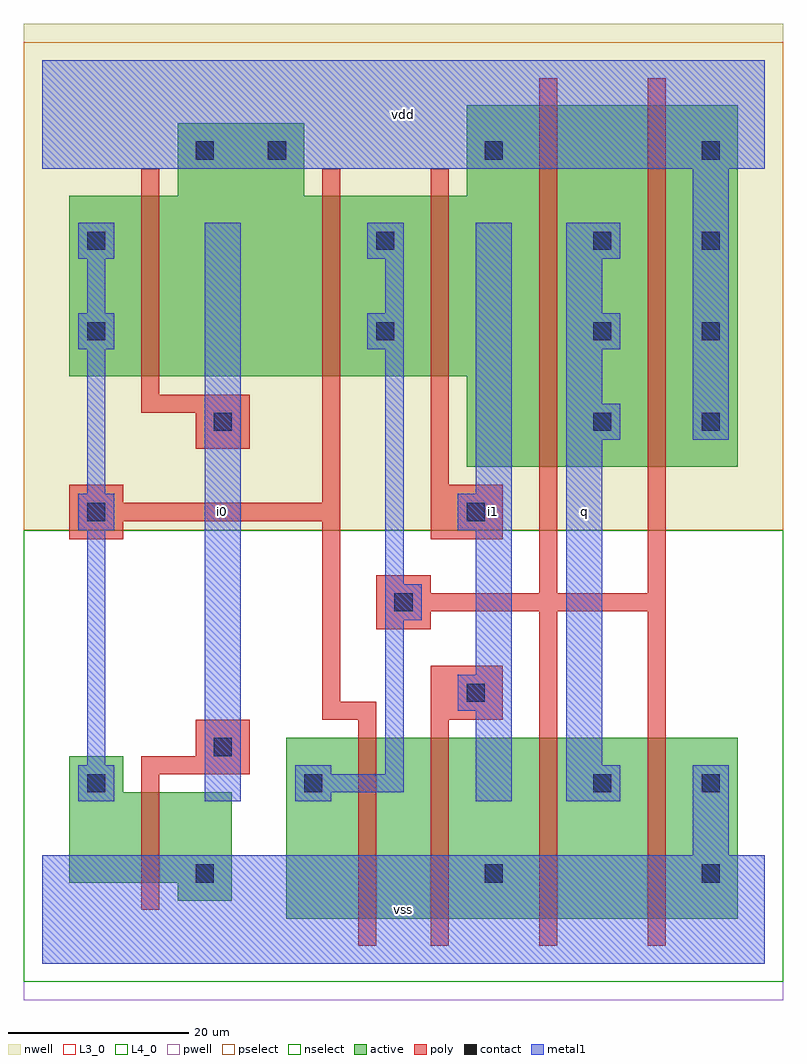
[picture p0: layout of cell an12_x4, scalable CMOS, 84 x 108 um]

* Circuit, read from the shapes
.subckt an12_x4 i0 i1 q vdd vss
M1 vss i0 n1 VSUBS nfet w=10u l=2u
M2 n2 n1 n3 VSUBS nfet w=20u l=2u
M3 vss i1 n2 VSUBS nfet w=20u l=2u
M4 q n3 vss VSUBS nfet w=20u l=2u m=2
M5 vdd i0 n1 n4 pfet w=20u l=2u
M6 n3 n1 vdd n4 pfet w=20u l=2u
M7 vdd i1 n3 n4 pfet w=20u l=2u
M8 q n3 vdd n4 pfet w=40u l=2u m=2
.ends

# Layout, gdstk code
import gdstk
lib = gdstk.Library(unit=1e-6, precision=1e-09)
def R(c, l, rs):  # rectangles x0, y0, x1, y1
    for r in rs: c.add(gdstk.rectangle(r[:2], r[2:], *l))
def A(c, l, x, y, w, h, nx, ny, dx, dy):  # array of equal rectangles
    R(c, l, [(x+i*dx, y+j*dy, x+i*dx+w, y+j*dy+h) for i in range(nx) for j in range(ny)])
L3_0 = (3, 0)
L4_0 = (4, 0)
contact = (25, 0)
pwell = (41, 0)
nwell = (42, 0)
active = (43, 0)
pselect = (44, 0)
nselect = (45, 0)
poly = (46, 0)
metal1 = (49, 0)

an12_x4 = lib.new_cell('an12_x4')
R(an12_x4, L3_0, [(27,5,77,25), (15,7,21,9), (3,9,21,19), (3,19,9,23)])
R(an12_x4, L4_0, [(47,55,77,65), (3,65,77,85), (15,85,29,93), (47,85,77,95)])
A(an12_x4, contact, 61, 59, 2, 2, 1, 3, 0, 10)
A(an12_x4, contact, 73, 59, 2, 2, 1, 3, 0, 10)
A(an12_x4, contact, 25, 89, 2, 2, 3, 1, 24, 0)
R(an12_x4, contact, [(17,9,19,11), (49,9,51,11), (73,9,75,11), (5,19,7,21), (29,19,31,21), (61,19,63,21), (73,19,75,21), (19,23,21,25), (47,29,49,31), (39,39,41,41), (5,49,7,51), (47,49,49,51), (19,59,21,61), (5,69,7,71), (37,69,39,71), (5,79,7,81), (37,79,39,81), (17,89,19,91)])
R(an12_x4, pwell, [(-2,-4,82,48)])
R(an12_x4, nwell, [(-2,48,82,104)])
R(an12_x4, active, [(27,5,77,25), (15,7,21,9), (3,9,21,19), (3,19,9,23), (47,55,77,65), (3,65,77,85), (15,85,29,93), (47,85,77,95)])
R(an12_x4, pselect, [(-2,48,82,102)])
R(an12_x4, nselect, [(-2,-2,82,48)])
R(an12_x4, poly, [(35,2,37,27), (43,2,45,27), (55,2,57,39), (67,2,69,39), (11,6,13,21), (11,21,23,23), (17,23,23,27), (31,27,37,29), (43,27,51,33), (31,29,33,49), (37,37,43,39), (37,39,69,41), (37,41,43,43), (55,41,57,98), (67,41,69,98), (3,47,9,49), (43,47,51,53), (3,49,33,51), (3,51,9,53), (31,51,33,88), (43,53,45,88), (17,57,23,61), (11,61,23,63), (11,63,13,88)])
A(an12_x4, metal1, 58, 58, 6, 4, 1, 3, 0, 10)
R(an12_x4, metal1, [(0,0,80,12), (72,12,76,22), (4,18,8,22), (18,18,22,82), (28,18,32,19), (48,18,52,28), (58,18,64,22), (28,19,40,21), (28,21,32,22), (38,21,40,38), (5,22,7,48), (58,22,62,58), (46,28,52,32), (48,32,52,48), (38,38,42,42), (38,42,40,68), (4,48,8,52), (46,48,52,52), (5,52,7,68), (48,52,52,82), (72,58,76,88), (58,62,62,68), (4,68,8,72), (36,68,40,72), (5,72,7,78), (38,72,40,78), (58,72,62,78), (4,78,8,82), (36,78,40,82), (0,88,80,100)])
an12_x4.add(gdstk.Label('i0', (20,50), layer=49, texttype=0))
an12_x4.add(gdstk.Label('vss', (40,6), layer=49, texttype=0))
an12_x4.add(gdstk.Label('i1', (50,50), layer=49, texttype=0))
an12_x4.add(gdstk.Label('vdd', (40,94), layer=49, texttype=0))
an12_x4.add(gdstk.Label('q', (60,50), layer=49, texttype=0))

lib.write_gds('an12_x4.gds')
